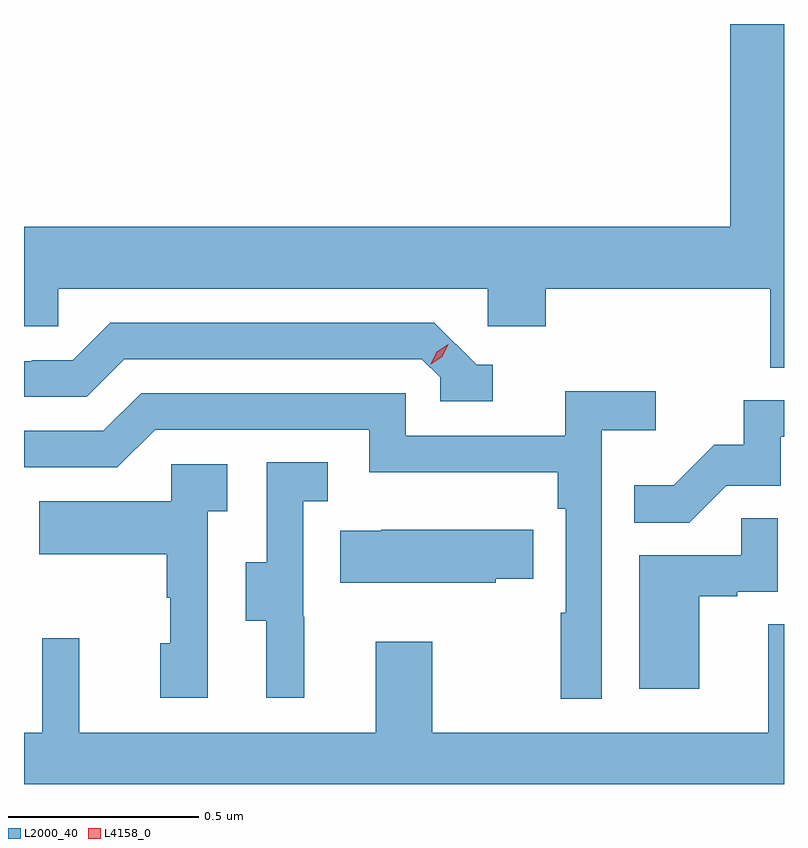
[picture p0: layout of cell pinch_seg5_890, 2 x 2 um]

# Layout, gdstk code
import gdstk
lib = gdstk.Library(unit=1e-6, precision=1e-09)
def P(c, l, *ps):  # polygons
    for p in ps: c.add(gdstk.Polygon(p, *l))
L2000_40 = (2000, 40)
L4158_0 = (4158, 0)

pinch_seg5_890 = lib.new_cell('pinch_seg5_890')
P(pinch_seg5_890, L2000_40, [(857.255,893.421),(857.114,893.421),(857.114,892.888),(855.255,892.888),(855.255,892.626),(855.345,892.626),(855.345,892.724),(856.476,892.724),(856.476,892.626),(856.628,892.626),(856.628,892.724),(857.219,892.724),(857.219,892.516),(857.255,892.516)],
  [(856.489,892.524),(856.446,892.524),(856.335,892.635),(855.482,892.635),(855.383,892.536),(855.276,892.536),(855.276,892.533),(855.255,892.533),(855.255,892.44),(855.42,892.44),(855.519,892.539),(856.302,892.539),(856.35,892.491),(856.35,892.428),(856.489,892.428)],
  [(856.776,892.352),(856.918,892.352),(856.918,892.454),(856.679,892.454),(856.679,892.338),(856.26,892.338),(856.26,892.449),(855.563,892.449),(855.464,892.35),(855.255,892.35),(855.255,892.254),(855.501,892.254),(855.6,892.353),(856.164,892.353),(856.164,892.241),(856.66,892.241),(856.66,892.145),(856.68,892.145),(856.68,891.872),(856.668,891.872),(856.668,891.645),(856.776,891.645)],
  [(857.103,892.206),(857.247,892.206),(857.247,892.335),(857.255,892.335),(857.255,892.431),(857.149,892.431),(857.149,892.314),(857.072,892.314),(856.965,892.207),(856.861,892.207),(856.861,892.108),(857.005,892.108)],
  [(855.992,891.861),(855.99,891.861),(855.99,892.165),(856.054,892.165),(856.054,892.268),(855.894,892.268),(855.894,892.005),(855.839,892.005),(855.839,891.85),(855.893,891.85),(855.893,891.648),(855.992,891.648)],
  [(855.738,892.139),(855.79,892.139),(855.79,892.263),(855.642,892.263),(855.642,892.165),(855.295,892.165),(855.295,892.025),(855.63,892.025),(855.63,891.911),(855.64,891.911),(855.64,891.792),(855.614,891.792),(855.614,891.648),(855.738,891.648)],
  [(857.032,891.915),(857.132,891.915),(857.132,891.927),(857.238,891.927),(857.238,892.121),(857.143,892.121),(857.143,892.023),(856.874,892.023),(856.874,891.672),(857.032,891.672)],
  [(856.497,891.961),(856.595,891.961),(856.595,892.09),(856.195,892.09),(856.195,892.087),(856.087,892.087),(856.087,891.95),(856.497,891.95)],
  [(857.255,891.842),(857.213,891.842),(857.213,891.556),(856.329,891.556),(856.329,891.796),(856.181,891.796),(856.181,891.556),(855.401,891.556),(855.401,891.805),(855.303,891.805),(855.303,891.556),(855.255,891.556),(855.255,891.421),(857.255,891.421)])
P(pinch_seg5_890, L4158_0, [(856.325,892.525),(856.325,892.526),(856.341,892.558),(856.372,892.578),(856.372,892.578),(856.372,892.578),(856.356,892.545),(856.326,892.525)])

lib.write_gds('pinch_seg5_890.gds')
